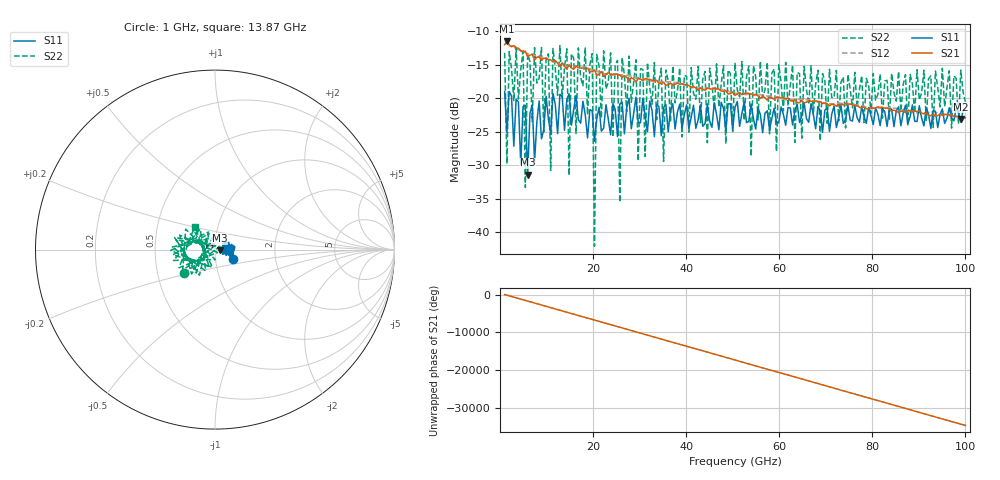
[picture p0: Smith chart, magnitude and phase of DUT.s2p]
!Created with skrf (http://scikit-rf.org).
# GHz S RI R 50.0
!freq ReS11 ImS11 ReS21 ImS21 ReS12 ImS12 ReS22 ImS22
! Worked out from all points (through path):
!   201 points, 1 GHz to 100 GHz, reference 50 ohm
!   highest |S21| = -11.50 dB at 1.495 GHz (marker M1); lowest = -23.1 dB at 99.01 GHz (marker M2)
!   lowest |S11| = -31.4 dB at 5.95 GHz (marker M3), VSWR 1.06, Z = 52.7 - j0.5 ohm
!   |S11| at or under -10 dB: start of sweep to end of sweep
!   |S22| runs from -42.1 to -12.2 dB; largest |S21 - S12| = 0.02
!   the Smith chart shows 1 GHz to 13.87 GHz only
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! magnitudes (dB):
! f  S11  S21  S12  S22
! 1 GHz  -19.0  -12.0  -11.4  -13.2
! 1.495 GHz  -25.1  -11.5  -11.5  -29.8
! 4.96 GHz  -21.2  -13.0  -13.2  -13.0
! 5.455 GHz  -21.1  -13.0  -13.1  -33.3
! 5.95 GHz  -31.4  -13.8  -13.3  -13.4
! 10.9 GHz  -25.3  -14.3  -14.1  -30.8
! 11.39 GHz  -19.3  -14.6  -14.5  -12.6
! 14.37 GHz  -20.2  -15.7  -15.3  -12.6
! 14.86 GHz  -19.3  -15.0  -15.1  -31.5
! 17.83 GHz  -20.5  -15.5  -15.3  -18.2
! 19.81 GHz  -21.9  -16.0  -15.8  -13.3
! 20.3 GHz  -26.4  -15.8  -15.7  -42.1
! 20.8 GHz  -23.1  -16.6  -16.0  -13.5
! 25.25 GHz  -25.7  -16.4  -16.6  -14.4
! 25.75 GHz  -20.9  -16.5  -16.5  -35.5
! 26.25 GHz  -20.6  -16.9  -16.6  -13.9
! 34.16 GHz  -21.3  -17.8  -17.5  -17.5
! 50.5 GHz  -21.4  -19.6  -19.3  -14.7
! 67.33 GHz  -22.4  -20.4  -20.4  -22.4
! 83.67 GHz  -21.7  -21.6  -21.4  -23.1
! 99.01 GHz  -23.6  -23.1  -22.9  -15.8
! 100 GHz  -21.6  -22.9  -22.8  -20.5
